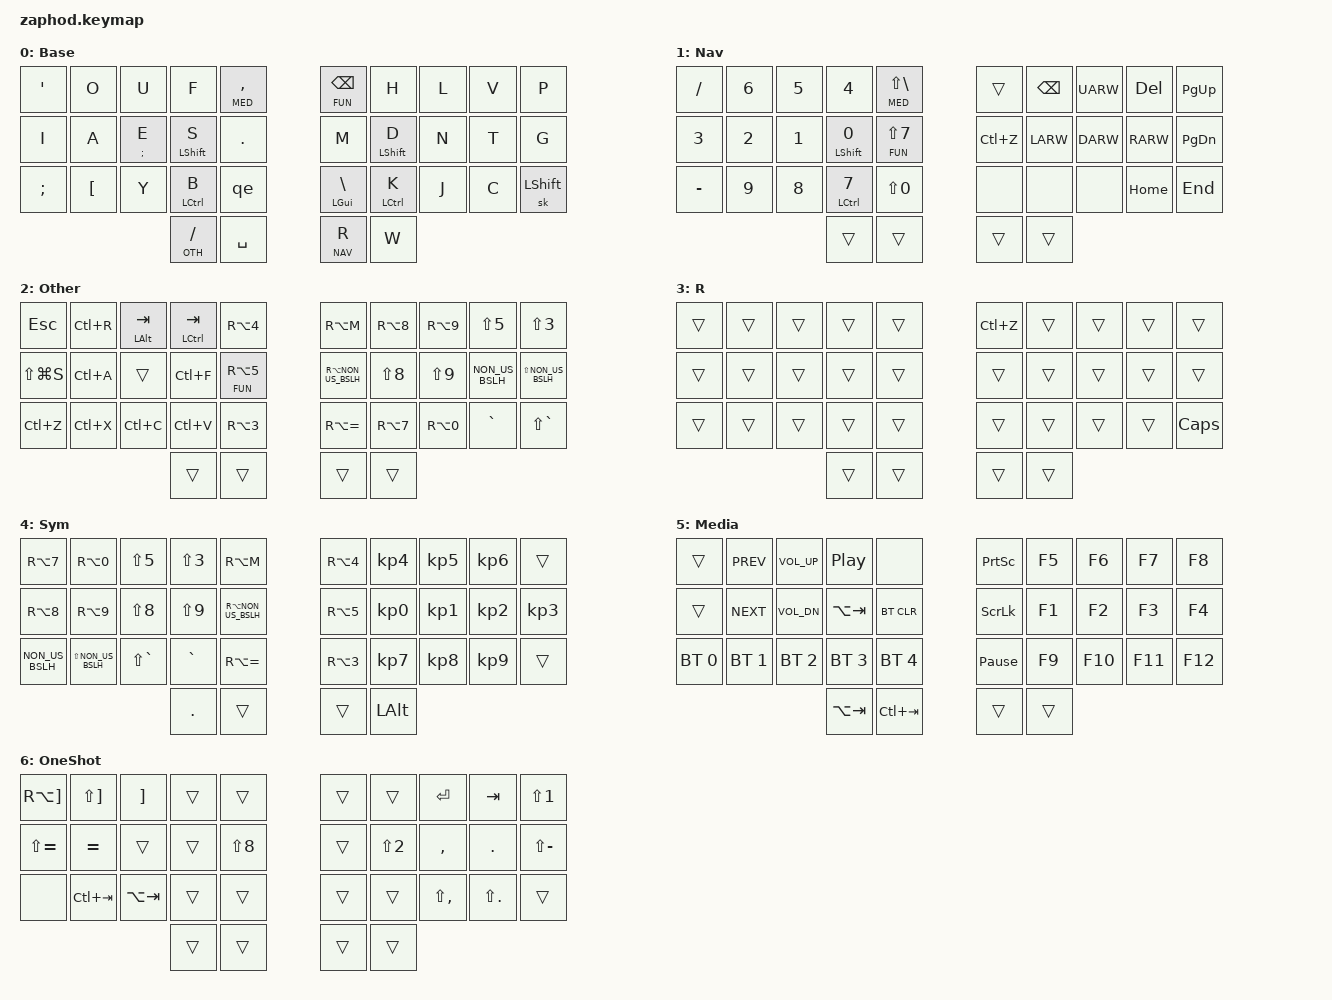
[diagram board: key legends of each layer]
/*
 * Copyright (c) 2021 Pete Johanson
 *
 * SPDX-License-Identifier: MIT
 */

#include <behaviors.dtsi>
#include <dt-bindings/zmk/keys.h>
#include <dt-bindings/zmk/bt.h>
#include <dt-bindings/zmk/outputs.h>

#define NAV 1
#define OTH 2
#define RRR 3
#define SYM 4
#define MED 5
#define FUN 6

&sk {
    quick-release;
};

#define COMBO(NAME, BINDINGS, KEYPOS, MS, LAYERS) \
  combo_##NAME { \
    bindings = <BINDINGS>; \
    key-positions = <KEYPOS>; \
    timeout-ms = <MS>; \
    layers = <LAYERS>; \
  };


   
&lt {
    flavor = "tap-preferred";
    tapping_term_ms = <300>;
};
&mt {
    flavor = "tap-preferred";
    tapping-term-ms = <350>;
};
/ {
    combos {
        compatible = "zmk,combos";
	
/*              34-KEY POSITIONS

  ╭────────────────────╮ ╭────────────────────╮
  │  0   1   2   3   4 │ │  5   6   7   8   9 │
  │ 10  11  12  13  14 │ │ 15  16  17  18  19 │
  │ 20  21  22  23  24 │ │ 25  26  27  28  29 │
  ╰───────────╮ 30  31 │ │ 32  33 ╭───────────╯
              ╰────────╯ ╰────────╯            */
	
	COMBO(um, &kp RBKT, 25 26, 30, 0)
	COMBO(nj, &nj, 23 24, 30, 0)
	COMBO(ac, &kp EQUAL, 15 16, 30, 6)
	COMBO(ae, &kp SEMI, 2 12, 120, 6)
	COMBO(oe, &kp SQT, 1 11, 120, 6)
	COMBO(tab, &kp TAB, 8 18, 30, 0)
	COMBO(x, &kp X, 3 13, 80, 0)
	COMBO(z, &kp Z, 2 12, 80, 0)
	COMBO(ci, &kp LS(N2), 6 16, 80, 0)
	COMBO(enter, &kp ENTER, 7 17, 30, 0 1)
	COMBO(enter1, &kp ENTER, 2 12, 30, 1)
	COMBO(q, &kp Q, 1 11, 80, 0)
	COMBO(tog, &tog 1, 30 31, 30, 0 1)  
        COMBO(rctrl, &sk RCTRL, 17 27, 30, 0)
     	COMBO(rwin, &kp RGUI, 18 28, 30, 6)
	COMBO(Lpara, &kp LS(N8), 4 14, 30, 0)
 	COMBO(Rpara, &kp LC(BSPC), 5 15, 60, 0 1)
	COMBO(at, &at, 13 14, 30, 0)
	
	
	
	 };        

    behaviors {
          cit: cit_rp {
            compatible = "zmk,behavior-mod-morph";
            label = "cit rp";
            #binding-cells = <0>;
            bindings = <&hmc LGUI LS(N2)>, <&kp BSLH>;
            mods = <(MOD_LSFT|MOD_RSFT)>;
        };
          apo: apo_ud {
            compatible = "zmk,behavior-mod-morph";
            label = "apo ud";
            #binding-cells = <0>;
            bindings = <&kp BSLH>, <&kp RA(N8)>;
            mods = <(MOD_LSFT|MOD_RSFT)>;
        };  
    
          qe: qe {
            compatible = "zmk,behavior-mod-morph";
            label = "qe";
            #binding-cells = <0>;
            bindings = <&hm LALT LS(MINUS)>, <&kp LS(N1)>;
            mods = <(MOD_LSFT|MOD_RSFT)>;
        };
	
	  nj: nino_nino {
            compatible = "zmk,behavior-mod-morph";
            label = "nino nino";
            #binding-cells = <0>;
            bindings = <&kp RA(RBKT)>, <&kp LS(N4)>;
            mods = <(MOD_LSFT|MOD_RSFT)>;
        };
        
	at: at {
            compatible = "zmk,behavior-mod-morph";
            label = "at";
            #binding-cells = <0>;
            bindings = <&kp RA(N2)>, <&kp LS(N6)>;
            mods = <(MOD_LSFT|MOD_RSFT)>;
        };
	
         hm: homerow_mods {
            compatible = "zmk,behavior-hold-tap";
            label = "homerow mods";
            #binding-cells = <2>;
            tapping_term_ms = <250>;
            flavor = "balanced";
            bindings = <&kp>, <&kp>;
        };
           hmc: homerow_modsc {
            compatible = "zmk,behavior-hold-tap";
            label = "homerow modsc";
            #binding-cells = <2>;
            tapping_term_ms = <250>;
            flavor = "tap-preferred";
            bindings = <&kp>, <&kp>;
        };
	   td: tapdance {
            compatible = "zmk,behavior-hold-tap";
            label = "TAPDANCE";
            #binding-cells = <2>;
            tapping-term-ms = <200>;
            quick_tap_ms = <0>;
            flavor = "tap-preferred";
            bindings = <&kp>, <&kp>;
        };
	   td0: tap_dance_0 {
            compatible = "zmk,behavior-tap-dance";
            label = "TAP_DANCE_0";
            #binding-cells = <0>;
            tapping-term-ms = <200>;
            bindings = <&kp LS(N2)>, <&qe>;
        };


    };


   


    keymap {
        compatible = "zmk,keymap";

        default_layer {
            label = "Base";
            bindings = <
                &kp SQT  &kp O    &kp U       &kp F         &lt MED COMMA   &lt FUN BSPC   &kp H         &kp L  &kp V  &kp P
                &kp I    &kp A    &mt SEMI E  &hm LSHIFT S  &kp DOT         &kp M          &hm LSHIFT D  &kp N  &kp T  &kp G
                &kp SEMI &kp LBKT &kp Y       &hmc LCTRL B  &qe             &hmc LGUI BSLH &hmc LCTRL K  &kp J  &kp C  &sk LSHIFT
                                              &lt OTH SLASH &kp SPC         &lt NAV R      &kp W
            >;
        };

        nav_layer {
            label = "Nav";
            bindings = <
                &kp SLASH &kp N6 &kp N5 &kp N4         &lt MED LS(BSLH)             &trans       &kp BSPC    &kp UARW   &kp DEL  &kp PG_UP
                &kp N3    &kp N2 &kp N1 &hmc LSHIFT N0 &lt FUN LS(N7)               &kp LC(Z)    &kp LARW    &kp DARW   &kp RARW &kp PG_DN
                &kp MINUS &kp N9 &kp N8 &hmc LCTRL N7  &kp LS(N0)                   &none        &none       &none      &kp HOME &kp END
                                        &trans          &trans                   &trans       &trans
            >;
        };

        other_layer {
            label = "Other";
            bindings = <
                &kp ESC	      &kp LC(R) &hm LALT TAB  &hm LCTRL TAB   &kp RA(N4)          &kp RA(M)           &kp RA(N8) &kp RA(N9) &kp LS(N5)      &kp LS(N3)            
                &kp LS(LG(S)) &kp LC(A) &trans        &kp LC(F) &lt FUN RA(N5)      &kp RA(NON_US_BSLH) &kp LS(N8) &kp LS(N9) &kp NON_US_BSLH &kp LS(NON_US_BSLH)   
                &kp LC(Z)     &kp LC(X) &kp LC(C)     &kp LC(V) &kp RA(N3)          &kp RA(EQUAL)       &kp RA(N7) &kp RA(N0) &kp GRAVE       &kp LS(GRAVE)    
                                                      &trans          &trans        &trans           &trans
            >;
        };

        r_layer {
            label = "R";
            bindings = <
                &trans &trans   &trans     &trans     &trans         &kp LC(Z)       &trans          &trans  &trans  &trans
                &trans   &trans   &trans    &trans &trans            &trans &trans   &trans     &trans        &trans
                &trans    &trans &trans  &trans  &trans               &trans &trans       &trans        &trans &kp CAPS
                                           &trans        &trans          &trans     &trans
            >;
        };

        sym_layer {
            label = "Sym";
            bindings = <
                &kp RA(N7)     &kp RA(N0)  &kp LS(N5)  &kp LS(N3) &kp RA(M)                     &kp RA(N4)   &kp KP_N4   &kp KP_N5    &kp KP_N6  &trans
                &kp RA(N8)    &kp RA(N9)  &kp LS(N8)  &kp LS(N9) &kp RA(NON_US_BSLH)           &kp RA(N5)   &kp KP_N0   &kp KP_N1    &kp KP_N2  &kp KP_N3
                &kp NON_US_BSLH    &kp LS(NON_US_BSLH)  &kp LS(GRAVE)  &kp GRAVE &kp RA(EQUAL)   &kp RA(N3)   &kp KP_N7   &kp KP_N8    &kp KP_N9  &trans
                                                   &kp DOT &trans         &trans &kp LALT
            >;
        };

        media_layer {
            label = "Media";
            bindings = <
                &trans	      &kp C_PREV    &kp C_VOL_UP &kp C_PP        &none             &kp PSCRN          &kp F5  &kp F6   &kp F7   &kp F8
                &trans        &kp C_NEXT    &kp C_VOL_DN &kp LA(TAB)     &bt BT_CLR        &kp SLCK           &kp F1  &kp F2   &kp F3   &kp F4
                &bt BT_SEL 0  &bt BT_SEL 1  &bt BT_SEL 2 &bt BT_SEL 3    &bt BT_SEL 4      &kp PAUSE_BREAK    &kp F9  &kp F10  &kp F11  &kp F12
                                                  &kp LA(TAB)     &kp LC(TAB)  &trans       &trans
            >;
        };

        fun_layer {
            label = "OneShot";
            bindings = <
                &kp RA(RBKT)  &kp LS(RBKT)   &kp RBKT      &trans     &trans        &trans          &trans     &kp ENTER     &kp TAB     &kp LS(N1)
                &kp LS(EQUAL) &kp EQUAL &trans     &trans    &kp LS(N8)        &trans          &kp LS(N2) &kp COMMA     &kp DOT     &kp LS(MINUS)
                &none         &kp LC(TAB)       &kp LA(TAB)         &trans     &trans        &trans          &trans     &kp LS(COMMA) &kp LS(DOT) &trans
                                                   &trans      &trans                &trans          &trans
            >;
        };
    };
};
